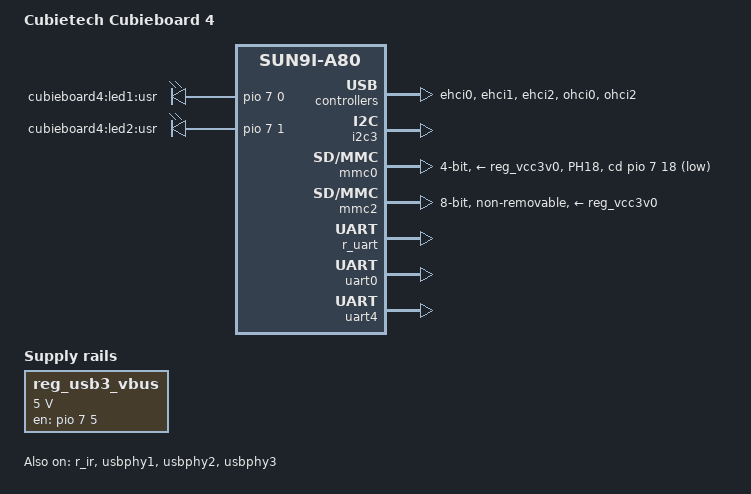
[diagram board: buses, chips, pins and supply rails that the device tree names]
/*
 * Copyright 2014 Chen-Yu Tsai
 *
 * Chen-Yu Tsai <wens@csie.org>
 * Tyler Baker <tyler.baker@linaro.org>
 *
 * This file is dual-licensed: you can use it either under the terms
 * of the GPL or the X11 license, at your option. Note that this dual
 * licensing only applies to this file, and not this project as a
 * whole.
 *
 *  a) This file is free software; you can redistribute it and/or
 *     modify it under the terms of the GNU General Public License as
 *     published by the Free Software Foundation; either version 2 of the
 *     License, or (at your option) any later version.
 *
 *     This file is distributed in the hope that it will be useful,
 *     but WITHOUT ANY WARRANTY; without even the implied warranty of
 *     MERCHANTABILITY or FITNESS FOR A PARTICULAR PURPOSE.  See the
 *     GNU General Public License for more details.
 *
 *     You should have received a copy of the GNU General Public
 *     License along with this file; if not, write to the Free
 *     Software Foundation, Inc., 51 Franklin St, Fifth Floor, Boston,
 *     MA 02110-1301 USA
 *
 * Or, alternatively,
 *
 *  b) Permission is hereby granted, free of charge, to any person
 *     obtaining a copy of this software and associated documentation
 *     files (the "Software"), to deal in the Software without
 *     restriction, including without limitation the rights to use,
 *     copy, modify, merge, publish, distribute, sublicense, and/or
 *     sell copies of the Software, and to permit persons to whom the
 *     Software is furnished to do so, subject to the following
 *     conditions:
 *
 *     The above copyright notice and this permission notice shall be
 *     included in all copies or substantial portions of the Software.
 *
 *     THE SOFTWARE IS PROVIDED "AS IS", WITHOUT WARRANTY OF ANY KIND,
 *     EXPRESS OR IMPLIED, INCLUDING BUT NOT LIMITED TO THE WARRANTIES
 *     OF MERCHANTABILITY, FITNESS FOR A PARTICULAR PURPOSE AND
 *     NONINFRINGEMENT. IN NO EVENT SHALL THE AUTHORS OR COPYRIGHT
 *     HOLDERS BE LIABLE FOR ANY CLAIM, DAMAGES OR OTHER LIABILITY,
 *     WHETHER IN AN ACTION OF CONTRACT, TORT OR OTHERWISE, ARISING
 *     FROM, OUT OF OR IN CONNECTION WITH THE SOFTWARE OR THE USE OR
 *     OTHER DEALINGS IN THE SOFTWARE.
 */

/dts-v1/;
#include "sun9i-a80.dtsi"
#include "sunxi-common-regulators.dtsi"

#include <dt-bindings/gpio/gpio.h>
#include <dt-bindings/pinctrl/sun4i-a10.h>

/ {
	model = "Cubietech Cubieboard 4";
	compatible = "cubietech,sun9i-a80-cubieboard4", "allwinner,sun9i-a80";

	chosen {
		bootargs = "earlyprintk console=ttyS0,115200";
	};

	leds {
		compatible = "gpio-leds";
		pinctrl-names = "default";
		pinctrl-0 = <&led_pins_cubieboard4>;

		/* The LED names match those found on the board */

		led1 {
			label = "cubieboard4:led1:usr";
			gpios = <&pio 7 0 GPIO_ACTIVE_HIGH>; /* PH6 */
		};

		led2 {
			label = "cubieboard4:led2:usr";
			gpios = <&pio 7 1 GPIO_ACTIVE_HIGH>; /* PH17 */
		};
	};

	reg_usb3_vbus: usb3-vbus {
		compatible = "regulator-fixed";
		pinctrl-names = "default";
		pinctrl-0 = <&usb3_vbus_pin_cubieboard4>;
		regulator-name = "usb3-vbus";
		regulator-min-microvolt = <5000000>;
		regulator-max-microvolt = <5000000>;
		enable-active-high;
		gpio = <&pio 7 5 GPIO_ACTIVE_HIGH>; /* PH15 */
	};
};

&ehci0 {
	status = "okay";
};

&ehci1 {
	status = "okay";
};

&ehci2 {
	status = "okay";
};

&i2c3 {
	pinctrl-names = "default";
	pinctrl-0 = <&i2c3_pins_a>;
	status = "okay";
};

&i2c3_pins_a {
	/* Enable internal pull-up */
	allwinner,pull = <SUN4I_PINCTRL_PULL_UP>;
};

&ohci0 {
	status = "okay";
};

&ohci2 {
	status = "okay";
};

&pio {
	led_pins_cubieboard4: led-pins@0 {
		allwinner,pins = "PH6", "PH17";
		allwinner,function = "gpio_out";
		allwinner,drive = <SUN4I_PINCTRL_10_MA>;
		allwinner,pull = <SUN4I_PINCTRL_NO_PULL>;
	};

	mmc0_cd_pin_cubieboard4: mmc0_cd_pin@0 {
		allwinner,pins = "PH18";
		allwinner,function = "gpio_in";
		allwinner,drive = <SUN4I_PINCTRL_10_MA>;
		allwinner,pull = <SUN4I_PINCTRL_PULL_UP>;
	};

	usb1_vbus_pin_cubieboard4: usb1_vbus_pin@1 {
		allwinner,pins = "PH14";
		allwinner,function = "gpio_out";
		allwinner,drive = <SUN4I_PINCTRL_10_MA>;
		allwinner,pull = <SUN4I_PINCTRL_NO_PULL>;
	};

	usb3_vbus_pin_cubieboard4: usb3_vbus_pin@1 {
		allwinner,pins = "PH15";
		allwinner,function = "gpio_out";
		allwinner,drive = <SUN4I_PINCTRL_10_MA>;
		allwinner,pull = <SUN4I_PINCTRL_NO_PULL>;
	};
};

&mmc0 {
	pinctrl-names = "default";
	pinctrl-0 = <&mmc0_pins>, <&mmc0_cd_pin_cubieboard4>;
	vmmc-supply = <&reg_vcc3v0>;
	bus-width = <4>;
	cd-gpios = <&pio 7 18 GPIO_ACTIVE_HIGH>; /* PH8 */
	cd-inverted;
	status = "okay";
};

&mmc2 {
	pinctrl-names = "default";
	pinctrl-0 = <&mmc2_8bit_pins>;
	vmmc-supply = <&reg_vcc3v0>;
	bus-width = <8>;
	non-removable;
	status = "okay";
};

&reg_usb1_vbus {
	pinctrl-0 = <&usb1_vbus_pin_cubieboard4>;
	gpio = <&pio 7 4 GPIO_ACTIVE_HIGH>; /* PH14 */
	status = "okay";
};

&r_ir {
	status = "okay";
};

&r_uart {
	status = "okay";
};

&r_rsb {
	status = "okay";
};

&r_uart_pins {
	/* Enable internal pull-up */
	allwinner,pull = <SUN4I_PINCTRL_PULL_UP>;
};

&uart0 {
	pinctrl-names = "default";
	pinctrl-0 = <&uart0_pins_a>;
	status = "okay";
};

&uart4 {
	pinctrl-names = "default";
	pinctrl-0 = <&uart4_pins_a>;
	status = "okay";
};

&uart4_pins_a {
	/* Enable internal pull-up */
	allwinner,pull = <SUN4I_PINCTRL_PULL_UP>;
};

&usbphy1 {
	vbus-supply = <&reg_usb1_vbus>;
	status = "okay";
};

&usbphy2 {
	status = "okay";
};

&usbphy3 {
	vbus-supply = <&reg_usb3_vbus>;
	status = "okay";
};
